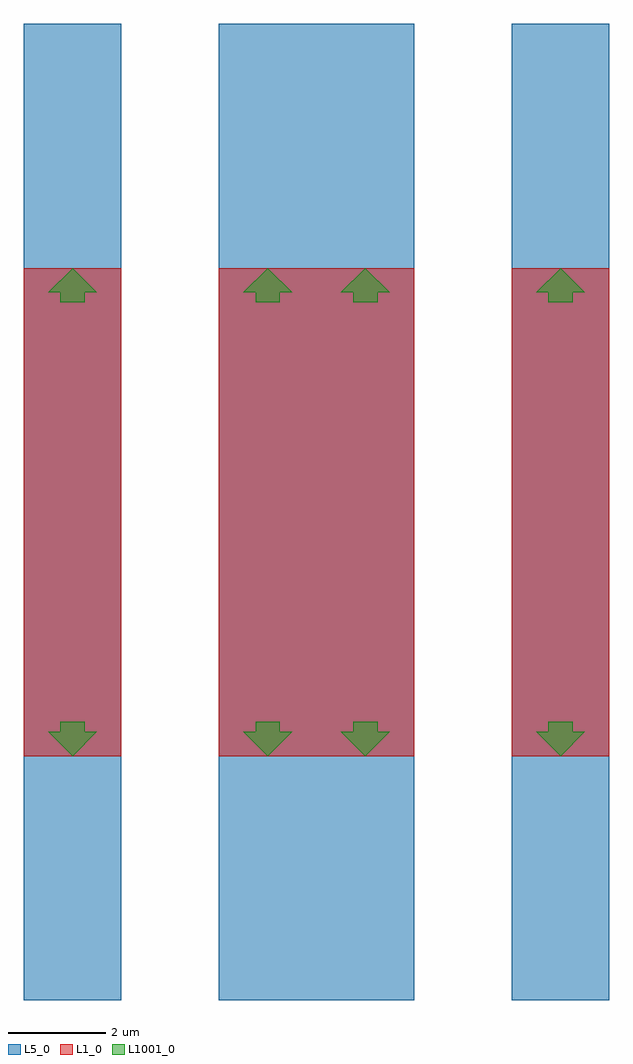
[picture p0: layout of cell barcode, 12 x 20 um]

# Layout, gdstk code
import gdstk
lib = gdstk.Library(unit=1e-6, precision=1e-09)
def R(c, l, rs):  # rectangles x0, y0, x1, y1
    for r in rs: c.add(gdstk.rectangle(r[:2], r[2:], *l))
def P(c, l, *ps):  # polygons
    for p in ps: c.add(gdstk.Polygon(p, *l))
L1_0 = (1, 0)
L5_0 = (5, 0)
L1001_0 = (1001, 0)

barcode = lib.new_cell('barcode')
R(barcode, L1_0, [(1,0,3,10), (5,0,7,10), (7,0,9,10), (11,0,13,10)])
R(barcode, L5_0, [(1,-5,3,15), (5,-5,7,15), (7,-5,9,15), (11,-5,13,15)])
P(barcode, L1001_0, [(12,10),(11.5,9.5),(11.75,9.5),(11.75,9.3),(12.25,9.3),(12.25,9.5),(12.5,9.5)],
  [(12,0),(11.5,0.5),(11.75,0.5),(11.75,0.7),(12.25,0.7),(12.25,0.5),(12.5,0.5)],
  [(8,10),(7.5,9.5),(7.75,9.5),(7.75,9.3),(8.25,9.3),(8.25,9.5),(8.5,9.5)],
  [(8,0),(7.5,0.5),(7.75,0.5),(7.75,0.7),(8.25,0.7),(8.25,0.5),(8.5,0.5)],
  [(6,10),(5.5,9.5),(5.75,9.5),(5.75,9.3),(6.25,9.3),(6.25,9.5),(6.5,9.5)],
  [(6,0),(5.5,0.5),(5.75,0.5),(5.75,0.7),(6.25,0.7),(6.25,0.5),(6.5,0.5)],
  [(2,10),(1.5,9.5),(1.75,9.5),(1.75,9.3),(2.25,9.3),(2.25,9.5),(2.5,9.5)],
  [(2,0),(1.5,0.5),(1.75,0.5),(1.75,0.7),(2.25,0.7),(2.25,0.5),(2.5,0.5)])

lib.write_gds('barcode.gds')
